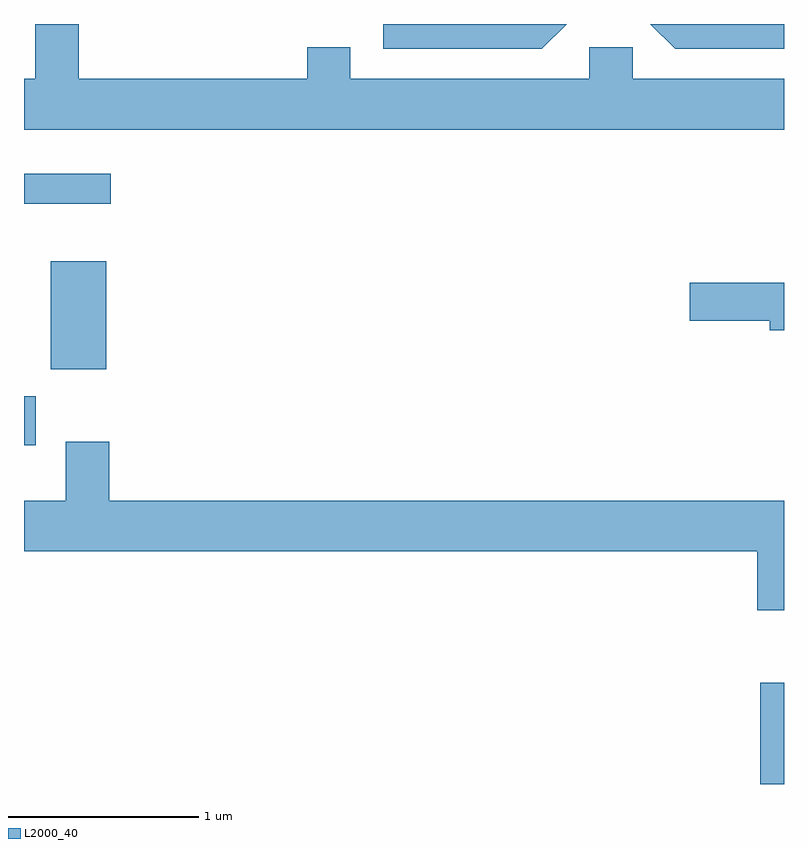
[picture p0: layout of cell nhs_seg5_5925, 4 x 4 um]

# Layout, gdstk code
import gdstk
lib = gdstk.Library(unit=1e-6, precision=1e-09)
def R(c, l, rs):  # rectangles x0, y0, x1, y1
    for r in rs: c.add(gdstk.rectangle(r[:2], r[2:], *l))
def P(c, l, *ps):  # polygons
    for p in ps: c.add(gdstk.Polygon(p, *l))
L2000_40 = (2000, 40)

nhs_seg5_5925 = lib.new_cell('nhs_seg5_5925')
R(nhs_seg5_5925, L2000_40, [(365.486,1400.072,365.611,1400.604), (361.611,1401.856,361.674,1402.114), (361.751,1402.256,362.044,1402.824), (361.611,1403.126,362.068,1403.284)])
P(nhs_seg5_5925, L2000_40, [(365.611,1403.784),(364.814,1403.784),(364.814,1403.949),(364.586,1403.949),(364.586,1403.784),(363.329,1403.784),(363.329,1403.949),(363.101,1403.949),(363.101,1403.784),(361.899,1403.784),(361.899,1404.072),(361.671,1404.072),(361.671,1403.784),(361.611,1403.784),(361.611,1403.516),(365.611,1403.516)],
  [(364.468,1404.072),(363.501,1404.072),(363.501,1403.941),(364.337,1403.941)],
  [(365.611,1404.072),(364.908,1404.072),(365.039,1403.941),(365.611,1403.941)],
  [(365.611,1402.709),(365.116,1402.709),(365.116,1402.511),(365.536,1402.511),(365.536,1402.461),(365.611,1402.461)],
  [(365.611,1401.564),(362.059,1401.564),(362.059,1401.874),(361.831,1401.874),(361.831,1401.564),(361.611,1401.564),(361.611,1401.296),(365.471,1401.296),(365.471,1400.986),(365.611,1400.986)])

lib.write_gds('nhs_seg5_5925.gds')
